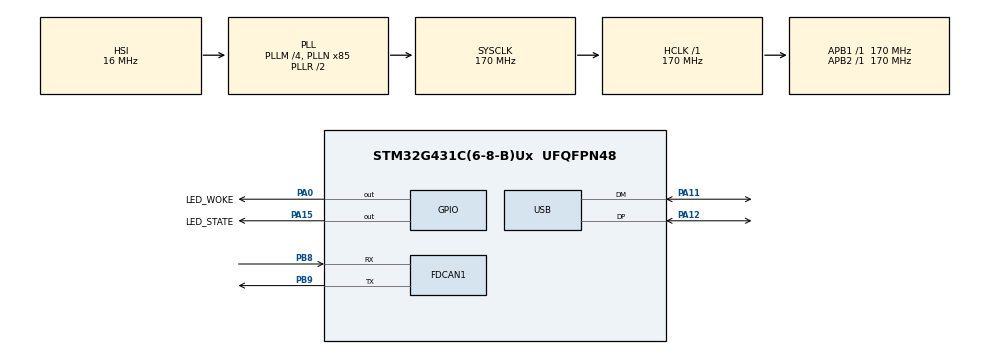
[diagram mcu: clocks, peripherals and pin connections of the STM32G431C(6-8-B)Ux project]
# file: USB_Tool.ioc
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FDCAN1.CalculateBaudRateNominal=1000000
FDCAN1.CalculateTimeBitNominal=1000
FDCAN1.CalculateTimeQuantumNominal=100.0
FDCAN1.NominalPrescaler=17
FDCAN1.NominalSyncJumpWidth=2
FDCAN1.NominalTimeSeg1=7
FDCAN1.NominalTimeSeg2=2
Mcu.Family=STM32G4
Mcu.Name=STM32G431C(6-8-B)Ux
Mcu.Package=UFQFPN48
NVIC.FDCAN1_IT0_IRQn=true\:0\:0\:false\:false\:true\:true\:true\:true
NVIC.PriorityGroup=NVIC_PRIORITYGROUP_4
NVIC.TIM2_IRQn=true\:0\:0\:false\:false\:true\:true\:true\:true
NVIC.USB_LP_IRQn=true\:0\:0\:false\:false\:true\:false\:true\:true
PA0.GPIO_Label=LED_WOKE
PA0.GPIO_ModeDefaultOutputPP=GPIO_MODE_OUTPUT_PP
PA0.GPIO_PuPd=GPIO_PULLUP
PA0.GPIO_Speed=GPIO_SPEED_FREQ_HIGH
PA0.PinState=GPIO_PIN_SET
PA0.Signal=GPIO_Output
PA11.Mode=Device
PA11.Signal=USB_DM
PA12.Mode=Device
PA12.Signal=USB_DP
PA13.Mode=Serial_Wire
PA13.Signal=SYS_JTMS-SWDIO
PA14.Mode=Serial_Wire
PA14.Signal=SYS_JTCK-SWCLK
PA15.GPIO_Label=LED_STATE
PA15.GPIO_ModeDefaultOutputPP=GPIO_MODE_OUTPUT_PP
PA15.GPIO_PuPd=GPIO_PULLUP
PA15.GPIO_Speed=GPIO_SPEED_FREQ_HIGH
PA15.PinState=GPIO_PIN_SET
PA15.Signal=GPIO_Output
PB8-BOOT0.Mode=FDCAN_Activate
PB8-BOOT0.Signal=FDCAN1_RX
PB9.Mode=FDCAN_Activate
PB9.Signal=FDCAN1_TX
ProjectManager.HeapSize=0x200
ProjectManager.StackSize=0x400
ProjectManager.TargetToolchain=MDK-ARM V5.32
RCC.ADC12Freq_Value=170000000
RCC.AHBFreq_Value=170000000
RCC.APB1Freq_Value=170000000
RCC.APB1TimFreq_Value=170000000
RCC.APB2Freq_Value=170000000
RCC.APB2TimFreq_Value=170000000
RCC.CK48CLockSelection=RCC_USBCLKSOURCE_HSI48
RCC.CortexFreq_Value=170000000
RCC.EXTERNAL_CLOCK_VALUE=12288000
RCC.HCLKFreq_Value=170000000
RCC.HSE_VALUE=8000000
RCC.HSI48_VALUE=48000000
RCC.HSI_VALUE=16000000
RCC.LSE_VALUE=32768
RCC.PLLM=RCC_PLLM_DIV4
RCC.PLLN=85
RCC.SYSCLKFreq_VALUE=170000000
RCC.SYSCLKSource=RCC_SYSCLKSOURCE_PLLCLK
RCC.USBFreq_Value=48000000
RCC.VCOOutputFreq_Value=340000000
TIM2.PeriodNoDither=50000-1
TIM2.Prescaler=169
USB_DEVICE.CLASS_NAME_FS=CDC
USB_DEVICE.VirtualMode=Cdc
USB_DEVICE.VirtualModeFS=Cdc_FS
VP_SYS_VS_DBSignals.Mode=DisableDeadBatterySignals
VP_TIM2_VS_ClockSourceINT.Mode=Internal
VP_USB_DEVICE_VS_USB_DEVICE_CDC_FS.Mode=CDC_FS
board=custom

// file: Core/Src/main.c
/* USER CODE BEGIN Header */
/**
  ******************************************************************************
  * @file           : main.c
  * @brief          : Main program body
  ******************************************************************************
  * @attention
  *
  * Copyright (c) 2026 STMicroelectronics.
  * All rights reserved.
  *
  * This software is licensed under terms that can be found in the LICENSE file
  * in the root directory of this software component.
  * If no LICENSE file comes with this software, it is provided AS-IS.
  *
  ******************************************************************************
  */
/* USER CODE END Header */
#include "main.h"
#include "fdcan.h"
#include "tim.h"
#include "usb_device.h"
#include "gpio.h"

/* USER CODE BEGIN Includes */
#include "usbd_cdc_if.h"
#include "fifo.h"
#include "can.h"
#include "usb.h"
#include "protocol.h"
#include "mode_manager.h"

/* USER CODE END Includes */

/* USER CODE BEGIN PV */
extern USBD_HandleTypeDef hUsbDeviceFS;
uint8_t ID_FLAG = 0;
uint16_t ID_TEMP = 0;
uint16_t SEND_ID = 0xF81;
uint8_t ID_CMD = 0;
static uint8_t g_id_reboot_pending = 0;
static uint32_t g_id_reboot_tick = 0;

/* USER CODE END PV */

void SystemClock_Config(void);

/* USER CODE BEGIN 0 */

/* USER CODE BEGIN EXPORTED_VARIABLES */
#define ID_CMD_READ        0x00U
#define ID_CMD_WRITE       0x01U
#define ID_CMD_REBOOT      0x03U
#define ID_CMD_WRITE_FAIL  0x81U
#define ID_REBOOT_DELAY_MS 10U
#define CAN_ID_DEFAULT     0x0781U
#define CAN_ID_MIN         0x0001U
#define CAN_ID_MAX         0x07FFU
#define CAN_ID_FLASH_PAGE_SIZE  0x800U
#define CAN_ID_FLASH_MAGIC      0xA55AU

static uint32_t Get_CAN_ID_StorageAddress(void)
{
  uint32_t flash_size_kb;

  flash_size_kb = (uint32_t)(*(__IO uint16_t *)FLASHSIZE_BASE);
  return FLASH_BASE + (flash_size_kb * 1024U) - CAN_ID_FLASH_PAGE_SIZE;
}

static uint64_t Build_CAN_ID_StorageWord(uint16_t can_id)
{
  uint64_t value;

  value = (uint64_t)CAN_ID_FLASH_MAGIC;
  value |= ((uint64_t)can_id << 16);
  value |= ((uint64_t)((uint16_t)(can_id ^ 0xFFFFU)) << 32);
  value |= ((uint64_t)0xFFFFU << 48);
  return value;
}

uint32_t Read_CAN_ID(void);

uint32_t Read_ID(void) {
  return Read_CAN_ID();
}

uint32_t Read_CAN_ID(void) {
  uint32_t storage_addr;
  uint64_t raw;
  uint16_t magic;
  uint16_t value;
  uint16_t inverse;

  storage_addr = Get_CAN_ID_StorageAddress();
  raw = *(uint64_t *)storage_addr;

  magic = (uint16_t)(raw & 0xFFFFU);
  value = (uint16_t)((raw >> 16) & 0xFFFFU);
  inverse = (uint16_t)((raw >> 32) & 0xFFFFU);

  if ((magic != CAN_ID_FLASH_MAGIC) || ((uint16_t)(value ^ inverse) != 0xFFFFU)) {
    return 0xFFFFFFFFU;
  }

  return value;
}

static uint16_t Normalize_CAN_ID(uint32_t can_id)
{
  if ((can_id < CAN_ID_MIN) || (can_id > CAN_ID_MAX)) {
    return CAN_ID_DEFAULT;
  }

  return (uint16_t)can_id;
}

HAL_StatusTypeDef Save_CAN_ID(uint32_t can_id) {
    FLASH_EraseInitTypeDef EraseInitStruct;
    uint32_t PageError = 0;
    HAL_StatusTypeDef status = HAL_OK;
    uint32_t storage_addr;
    uint32_t page_index;
    uint64_t data_to_write;

    storage_addr = Get_CAN_ID_StorageAddress();
    page_index = (storage_addr - FLASH_BASE) / CAN_ID_FLASH_PAGE_SIZE;

    // 1. 解锁 Flash
    if (HAL_FLASH_Unlock() != HAL_OK) {
        return HAL_ERROR;
    }

    // 2. 擦除最后一页 (第63页)
    // 注意：擦除是以“页”为单位的，这一页的其他数据也会被清空
    EraseInitStruct.TypeErase   = FLASH_TYPEERASE_PAGES;
    EraseInitStruct.Banks       = FLASH_BANK_1;
    EraseInitStruct.Page        = page_index;
    EraseInitStruct.NbPages     = 1;       // 只擦除1页

    if (HAL_FLASHEx_Erase(&EraseInitStruct, &PageError) != HAL_OK) {
        status = HAL_ERROR;
    }

    // 3. 写入数据 (G4 必须写入 64 位)
    data_to_write = Build_CAN_ID_StorageWord((uint16_t)can_id);

    if ((status == HAL_OK) && (HAL_FLASH_Program(FLASH_TYPEPROGRAM_DOUBLEWORD, storage_addr, data_to_write) != HAL_OK)) {
        status = HAL_ERROR;
    }

    // 4. 上锁
    HAL_FLASH_Lock();
    return status;
}

void ID_Check(void)
{
  uint8_t data[5] = {0};
  uint16_t current_id;
  uint16_t original_id;
  uint8_t response_cmd;
  uint8_t reboot_requested;

  if (!ID_FLAG)
    return;

  original_id = Normalize_CAN_ID(Read_CAN_ID());
  current_id = original_id;
  response_cmd = ID_CMD;
  reboot_requested = 0U;

  data[0] = 0xA5;
  data[1] = 0xA5;

  switch (ID_CMD)
  {
    case ID_CMD_READ:
      response_cmd = ID_CMD_READ;
      break;

    case ID_CMD_WRITE:
      if ((ID_TEMP < CAN_ID_MIN) || (ID_TEMP > CAN_ID_MAX)) {
        response_cmd = ID_CMD_WRITE_FAIL;
        current_id = original_id;
        break;
      }

      if (Save_CAN_ID(ID_TEMP) != HAL_OK) {
        response_cmd = ID_CMD_WRITE_FAIL;
        current_id = original_id;
        break;
      }

      current_id = Normalize_CAN_ID(Read_CAN_ID());
      if (current_id != ID_TEMP) {
        response_cmd = ID_CMD_WRITE_FAIL;
        current_id = original_id;
        break;
      }

      response_cmd = ID_CMD_WRITE;
      break;

    case ID_CMD_REBOOT:
      response_cmd = ID_CMD_REBOOT;
      reboot_requested = 1U;
      break;

    default:
      response_cmd = ID_CMD_WRITE_FAIL;
      current_id = original_id;
      break;
  }

  SEND_ID = current_id;
  data[2] = response_cmd;
  data[3] = (uint8_t)((current_id >> 8) & 0xFF);
  data[4] = (uint8_t)(current_id & 0xFF);

  CDC_Transmit_FS(data, 5);
  ID_FLAG = 0;

  if (reboot_requested) {
    g_id_reboot_pending = 1U;
    g_id_reboot_tick = HAL_GetTick();
  }
}

/* USER CODE END 0 */

int main(void)
{

  /* MCU Configuration--------------------------------------------------------*/

  /* Reset of all peripherals, Initializes the Flash interface and the Systick. */
  HAL_Init();

  /* Configure the system clock */
  SystemClock_Config();

  /* Initialize all configured peripherals */
  MX_GPIO_Init();
  MX_USB_Device_Init();
  MX_FDCAN1_Init();
  MX_TIM2_Init();
  /* USER CODE BEGIN 2 */
	FDCAN_ConfigFilters();

	USR_FIFO_INIT();

	HAL_TIM_Base_Start_IT(&htim2);

	SEND_ID = Read_CAN_ID();
	if (SEND_ID == 0xFFFF) {
			// 说明没存过，使用默认 ID
			SEND_ID = 0x781;
			Save_CAN_ID(SEND_ID);
	}

	ModeManager_Init();

  /* USER CODE END 2 */

  /* Infinite loop */
  /* USER CODE BEGIN WHILE */
  while (1)
  {
//		USB_Pure_Loopback_Test();
		// 1. 负责把 USB 发给电脑

//		//上位机发送数据回环测试
//		USB_Protocol_Parse_Loopback();

		ID_Check();

	    /* 模式管理器：根据当前模式分派处理逻辑 */
	    ModeManager_Run();

	    /* USB 驱动桥：始终运行，将发送 FIFO 数据通过 USB 发出 */
	    USB_CDC_TX_Bridge();

		if (g_id_reboot_pending && ((HAL_GetTick() - g_id_reboot_tick) >= ID_REBOOT_DELAY_MS)) {
			NVIC_SystemReset();
		}

    /* USER CODE END WHILE */

  }
}

void SystemClock_Config(void)
{
  RCC_OscInitTypeDef RCC_OscInitStruct = {0};
  RCC_ClkInitTypeDef RCC_ClkInitStruct = {0};

  /** Configure the main internal regulator output voltage
  */
  HAL_PWREx_ControlVoltageScaling(PWR_REGULATOR_VOLTAGE_SCALE1_BOOST);

  /** Initializes the RCC Oscillators according to the specified parameters
  * in the RCC_OscInitTypeDef structure.
  */
  RCC_OscInitStruct.OscillatorType = RCC_OSCILLATORTYPE_HSI|RCC_OSCILLATORTYPE_HSI48;
  RCC_OscInitStruct.HSIState = RCC_HSI_ON;
  RCC_OscInitStruct.HSICalibrationValue = RCC_HSICALIBRATION_DEFAULT;
  RCC_OscInitStruct.HSI48State = RCC_HSI48_ON;
  RCC_OscInitStruct.PLL.PLLState = RCC_PLL_ON;
  RCC_OscInitStruct.PLL.PLLSource = RCC_PLLSOURCE_HSI;
  RCC_OscInitStruct.PLL.PLLM = RCC_PLLM_DIV4;
  RCC_OscInitStruct.PLL.PLLN = 85;
  RCC_OscInitStruct.PLL.PLLP = RCC_PLLP_DIV2;
  RCC_OscInitStruct.PLL.PLLQ = RCC_PLLQ_DIV2;
  RCC_OscInitStruct.PLL.PLLR = RCC_PLLR_DIV2;
  if (HAL_RCC_OscConfig(&RCC_OscInitStruct) != HAL_OK)
  {
    Error_Handler();
  }

  /** Initializes the CPU, AHB and APB buses clocks
  */
  RCC_ClkInitStruct.ClockType = RCC_CLOCKTYPE_HCLK|RCC_CLOCKTYPE_SYSCLK
                              |RCC_CLOCKTYPE_PCLK1|RCC_CLOCKTYPE_PCLK2;
  RCC_ClkInitStruct.SYSCLKSource = RCC_SYSCLKSOURCE_PLLCLK;
  RCC_ClkInitStruct.AHBCLKDivider = RCC_SYSCLK_DIV1;
  RCC_ClkInitStruct.APB1CLKDivider = RCC_HCLK_DIV1;
  RCC_ClkInitStruct.APB2CLKDivider = RCC_HCLK_DIV1;

  if (HAL_RCC_ClockConfig(&RCC_ClkInitStruct, FLASH_LATENCY_4) != HAL_OK)
  {
    Error_Handler();
  }
}

/* USER CODE BEGIN 4 */
void HAL_TIM_PeriodElapsedCallback(TIM_HandleTypeDef *htim)
{
	static uint16_t cnt = 0;
	if (htim->Instance == TIM2)
	{
		if(++cnt == 20)
		{
			cnt = 0;
			HAL_GPIO_TogglePin(GPIOA, GPIO_PIN_15);
		}
	}
}

/* USER CODE END 4 */

void Error_Handler(void)
{
  __disable_irq();
  while (1)
  {
  }
}
